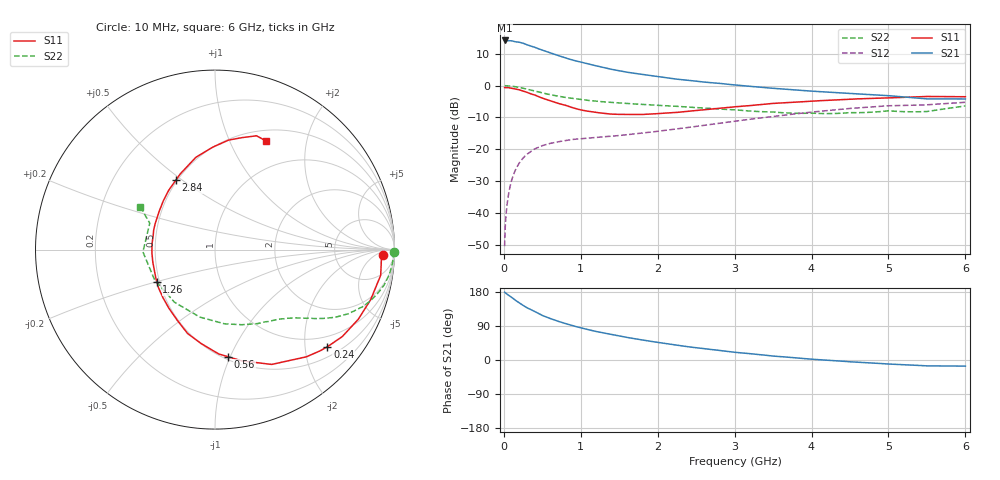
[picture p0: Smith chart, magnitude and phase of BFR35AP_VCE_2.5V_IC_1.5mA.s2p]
! Infineon Technologies  Discrete & RF Semiconductors
! BFR35AP
! VCE =  2.5 V,  IC =  1.5 mA
! Common Emitter S-Parameters:  Nov 2015
# GHz  S  MA  R  50
!  f  S11  S21  S12  S22
! GHz  MAG  ANG  MAG  ANG  MAG  ANG  MAG  ANG
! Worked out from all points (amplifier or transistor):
!   210 points, 10 MHz to 6 GHz, reference 50 ohm
!   highest |S21| = 14.2 dB at 10 MHz (marker M1)
!   |S21| within 3 dB of that: start of sweep to 496.1 MHz
!   unconditionally stable (mu >= 1): 1.265 GHz to 4.362 GHz; 5.048 GHz to end of sweep
!   at 185 MHz: K = 0.19, MSG = 19.3 dB, |S12| = -24.9 dB
!   at 1.52 GHz: K = 1.12, MAG = 8.0 dB, |S12| = -15.6 dB
!   at 6 GHz: K = 1.03, MAG = -0.5 dB, |S12| = -5.2 dB
!   S11 on the Smith chart (normalised r, x): 10 MHz: 25, -11; 240 MHz: 0.73, -2.50; 560 MHz: 0.53, -0.98; 1.26 GHz: 0.48, -0.20; 2.84 GHz: 0.49, +0.47; 6 GHz: 0.63, +1.38
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0.01  0.9338 -1.7  5.125 178.9  0.003 88.6  0.999 -0.8
0.02  0.9286 -3.4  5.031 176.9  0.0066 86.6  0.9953 -1.6
0.03  0.9296 -5.2  5.046 175.5  0.0097 85.7  0.9941 -2.4
0.075  0.9199 -13.2  5.072 169.1  0.0241 81.2  0.9865 -6.0
0.1  0.9111 -17.8  5.079 165.5  0.0322 79.3  0.9819 -8.0
0.15  0.8878 -25.9  4.883 157.6  0.0471 74.1  0.9625 -11.9
0.24  0.8279 -40.8  4.677 145.5  0.0703 65.8  0.9151 -17.8
0.3  0.7853 -49.5  4.39 138.0  0.0834 61.6  0.88 -21.3
0.4  0.7136 -63.7  4.009 127.9  0.1011 55.1  0.8242 -25.7
0.5  0.6379 -76.4  3.615 117.5  0.1138 49.9  0.7684 -29.4
0.56  0.6014 -83.0  3.411 112.9  0.1196 47.5  0.7399 -31.0
0.7  0.5289 -98.4  2.99 102.5  0.1307 43.4  0.6842 -34.2
0.8  0.4917 -108.1  2.721 96.1  0.137 41.0  0.6523 -35.9
1.02  0.4108 -129.8  2.31 83.9  0.1468 38.6  0.6011 -39.3
1.26  0.371 -150.8  1.969 72.9  0.1558 38.0  0.5614 -42.9
1.6  0.3521 -177.1  1.625 59.5  0.1692 39.0  0.5238 -47.9
2.02  0.3638 155.8  1.373 45.9  0.193 41.4  0.4884 -55.6
2.84  0.4439 119.5  1.073 24.4  0.26 42.2  0.4262 -77.1
3.1  0.4743 111.8  0.999 18.6  0.2858 40.8  0.4068 -86.4
4.1  0.5788 89.5  0.805 0.8  0.394 31.6  0.3651 -132.9
5.1  0.6475 75.1  0.679 -11.5  0.485 17.0  0.3945 177.2
6  0.6688 64.6  0.617 -16.1  0.5472 5.8  0.4795 150.2
